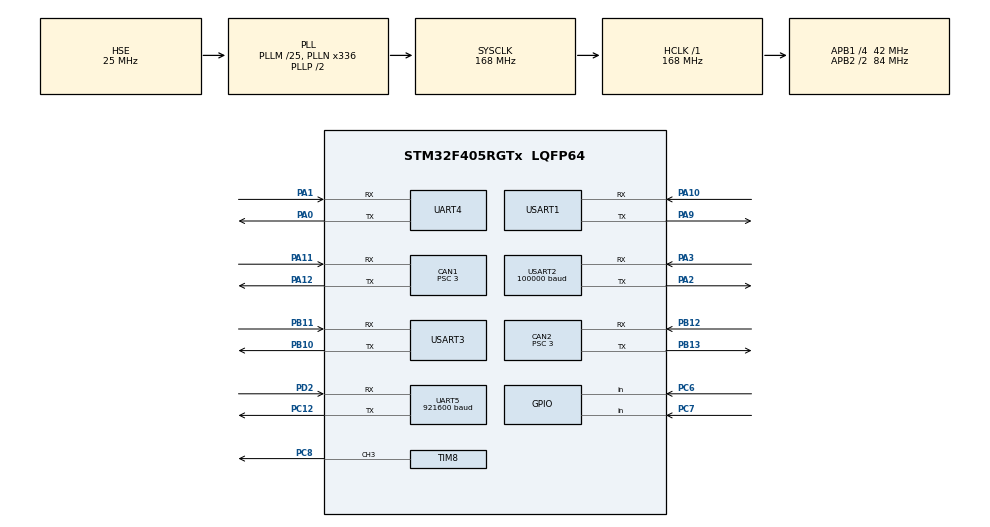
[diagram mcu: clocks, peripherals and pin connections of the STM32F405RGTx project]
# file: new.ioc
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CAN1.ABOM=ENABLE
CAN1.AWUM=ENABLE
CAN1.BS1=CAN_BS1_9TQ
CAN1.BS2=CAN_BS2_4TQ
CAN1.CalculateBaudRate=1000000
CAN1.CalculateTimeBit=1000
CAN1.CalculateTimeQuantum=71.42857142857143
CAN1.NART=DISABLE
CAN1.Prescaler=3
CAN1.TXFP=DISABLE
CAN2.ABOM=ENABLE
CAN2.AWUM=ENABLE
CAN2.BS1=CAN_BS1_9TQ
CAN2.BS2=CAN_BS2_4TQ
CAN2.CalculateBaudRate=1000000
CAN2.CalculateTimeBit=1000
CAN2.CalculateTimeQuantum=71.42857142857143
CAN2.NART=ENABLE
CAN2.Prescaler=3
CAN2.TXFP=DISABLE
Dma.Request0=USART2_RX
Dma.Request1=UART4_RX
Dma.Request2=UART5_RX
Dma.Request3=USART1_RX
Dma.UART4_RX.1.Direction=DMA_PERIPH_TO_MEMORY
Dma.UART4_RX.1.FIFOMode=DMA_FIFOMODE_DISABLE
Dma.UART4_RX.1.Instance=DMA1_Stream2
Dma.UART4_RX.1.MemDataAlignment=DMA_MDATAALIGN_BYTE
Dma.UART4_RX.1.MemInc=DMA_MINC_ENABLE
Dma.UART4_RX.1.Mode=DMA_CIRCULAR
Dma.UART4_RX.1.PeriphDataAlignment=DMA_PDATAALIGN_BYTE
Dma.UART4_RX.1.PeriphInc=DMA_PINC_DISABLE
Dma.UART4_RX.1.Priority=DMA_PRIORITY_VERY_HIGH
Dma.UART5_RX.2.Direction=DMA_PERIPH_TO_MEMORY
Dma.UART5_RX.2.FIFOMode=DMA_FIFOMODE_DISABLE
Dma.UART5_RX.2.Instance=DMA1_Stream0
Dma.UART5_RX.2.MemDataAlignment=DMA_MDATAALIGN_BYTE
Dma.UART5_RX.2.MemInc=DMA_MINC_ENABLE
Dma.UART5_RX.2.Mode=DMA_CIRCULAR
Dma.UART5_RX.2.PeriphDataAlignment=DMA_PDATAALIGN_BYTE
Dma.UART5_RX.2.PeriphInc=DMA_PINC_DISABLE
Dma.UART5_RX.2.Priority=DMA_PRIORITY_VERY_HIGH
Dma.USART1_RX.3.Direction=DMA_PERIPH_TO_MEMORY
Dma.USART1_RX.3.FIFOMode=DMA_FIFOMODE_DISABLE
Dma.USART1_RX.3.Instance=DMA2_Stream2
Dma.USART1_RX.3.MemDataAlignment=DMA_MDATAALIGN_BYTE
Dma.USART1_RX.3.MemInc=DMA_MINC_ENABLE
Dma.USART1_RX.3.Mode=DMA_CIRCULAR
Dma.USART1_RX.3.PeriphDataAlignment=DMA_PDATAALIGN_BYTE
Dma.USART1_RX.3.PeriphInc=DMA_PINC_DISABLE
Dma.USART1_RX.3.Priority=DMA_PRIORITY_VERY_HIGH
Dma.USART2_RX.0.Direction=DMA_PERIPH_TO_MEMORY
Dma.USART2_RX.0.FIFOMode=DMA_FIFOMODE_DISABLE
Dma.USART2_RX.0.Instance=DMA1_Stream5
Dma.USART2_RX.0.MemDataAlignment=DMA_MDATAALIGN_BYTE
Dma.USART2_RX.0.MemInc=DMA_MINC_ENABLE
Dma.USART2_RX.0.Mode=DMA_NORMAL
Dma.USART2_RX.0.PeriphDataAlignment=DMA_PDATAALIGN_BYTE
Dma.USART2_RX.0.PeriphInc=DMA_PINC_DISABLE
Dma.USART2_RX.0.Priority=DMA_PRIORITY_VERY_HIGH
FREERTOS.INCLUDE_vTaskDelayUntil=1
FREERTOS.Tasks01=chassis__task,0,512,chassis_task,Default,NULL,Dynamic,NULL,NULL;Gimbal__Task,-1,512,Gimbal_Task,Default,NULL,Dynamic,NULL,NULL;can__Task,1,512,can_Task,Default,NULL,Dynamic,NULL,NULL;vofa__Task,-2,128,vofa_Task,Default,NULL,Dynamic,NULL,NULL;Detect__Task,-1,512,Detect_Task,Default,NULL,Dynamic,NULL,NULL;client_,-2,128,client,Default,NULL,Dynamic,NULL,NULL;super_cap,-3,128,super_cap_task,Default,NULL,Dynamic,NULL,NULL
Mcu.Family=STM32F4
Mcu.Name=STM32F405RGTx
Mcu.Package=LQFP64
NVIC.CAN1_RX0_IRQn=true\:5\:0\:true\:false\:true\:true\:true\:true\:true
NVIC.CAN2_RX0_IRQn=true\:5\:0\:true\:false\:true\:true\:true\:true\:true
NVIC.DMA1_Stream0_IRQn=true\:5\:0\:false\:false\:true\:true\:false\:true\:true
NVIC.DMA1_Stream2_IRQn=true\:5\:0\:false\:false\:true\:true\:false\:true\:true
NVIC.DMA1_Stream5_IRQn=true\:5\:0\:true\:false\:true\:true\:false\:true\:true
NVIC.DMA2_Stream2_IRQn=true\:5\:0\:false\:false\:true\:true\:false\:true\:true
NVIC.PriorityGroup=NVIC_PRIORITYGROUP_4
NVIC.TIM8_TRG_COM_TIM14_IRQn=true\:15\:0\:true\:false\:true\:false\:false\:true\:true
NVIC.TimeBase=TIM8_TRG_COM_TIM14_IRQn
NVIC.TimeBaseIP=TIM14
NVIC.UART4_IRQn=true\:8\:0\:true\:false\:true\:true\:true\:true\:true
NVIC.UART5_IRQn=true\:5\:0\:true\:false\:true\:true\:true\:true\:true
NVIC.USART1_IRQn=true\:7\:0\:true\:false\:true\:true\:true\:true\:true
NVIC.USART2_IRQn=true\:7\:0\:true\:false\:true\:true\:true\:true\:true
PA0-WKUP.Mode=Asynchronous
PA0-WKUP.Signal=UART4_TX
PA1.Mode=Asynchronous
PA1.Signal=UART4_RX
PA10.Mode=Asynchronous
PA10.Signal=USART1_RX
PA11.GPIO_PuPd=GPIO_NOPULL
PA11.Mode=CAN_Activate
PA11.Signal=CAN1_RX
PA12.Mode=CAN_Activate
PA12.Signal=CAN1_TX
PA13.Mode=Serial_Wire
PA13.Signal=SYS_JTMS-SWDIO
PA14.Mode=Serial_Wire
PA14.Signal=SYS_JTCK-SWCLK
PA2.GPIO_PuPd=GPIO_PULLUP
PA2.Mode=Asynchronous
PA2.Signal=USART2_TX
PA3.GPIO_PuPd=GPIO_PULLUP
PA3.Mode=Asynchronous
PA3.Signal=USART2_RX
PA9.Mode=Asynchronous
PA9.Signal=USART1_TX
PB10.Mode=Asynchronous
PB10.Signal=USART3_TX
PB11.Mode=Asynchronous
PB11.Signal=USART3_RX
PB12.Mode=CAN_Activate
PB12.Signal=CAN2_RX
PB13.Mode=CAN_Activate
PB13.Signal=CAN2_TX
PC12.Mode=Asynchronous
PC12.Signal=UART5_TX
PC6.Signal=GPIO_Input
PC7.Signal=GPIO_Input
PC8.Signal=S_TIM8_CH3
PD2.Mode=Asynchronous
PD2.Signal=UART5_RX
PH0-OSC_IN.Mode=HSE-External-Oscillator
PH0-OSC_IN.Signal=RCC_OSC_IN
PH1-OSC_OUT.Mode=HSE-External-Oscillator
PH1-OSC_OUT.Signal=RCC_OSC_OUT
ProjectManager.HeapSize=0x800
ProjectManager.StackSize=0x800
ProjectManager.TargetToolchain=MDK-ARM V5
RCC.48MHZClocksFreq_Value=84000000
RCC.AHBFreq_Value=168000000
RCC.APB1CLKDivider=RCC_HCLK_DIV4
RCC.APB1Freq_Value=42000000
RCC.APB1TimFreq_Value=84000000
RCC.APB2CLKDivider=RCC_HCLK_DIV2
RCC.APB2Freq_Value=84000000
RCC.APB2TimFreq_Value=168000000
RCC.CortexFreq_Value=168000000
RCC.HCLKFreq_Value=168000000
RCC.HSE_VALUE=25000000
RCC.HSI_VALUE=16000000
RCC.LSE_VALUE=32768
RCC.PLLM=25
RCC.PLLN=336
RCC.PLLSourceVirtual=RCC_PLLSOURCE_HSE
RCC.SYSCLKFreq_VALUE=168000000
RCC.SYSCLKSource=RCC_SYSCLKSOURCE_PLLCLK
RCC.VCOOutputFreq_Value=336000000
SH.S_TIM8_CH3.0=TIM8_CH3,PWM Generation3 CH3
TIM8.AutoReloadPreload=TIM_AUTORELOAD_PRELOAD_ENABLE
TIM8.Channel-PWM\ Generation3\ CH3=TIM_CHANNEL_3
TIM8.OCPolarity_3=TIM_OCPOLARITY_HIGH
TIM8.Period=20000-1
TIM8.Prescaler=168-1
TIM8.Pulse-PWM\ Generation3\ CH3=2340
TIM8.RepetitionCounter=250
UART4.VirtualMode=Asynchronous
UART5.BaudRate=921600
UART5.VirtualMode=Asynchronous
USART1.VirtualMode=VM_ASYNC
USART2.BaudRate=100000
USART2.Parity=PARITY_EVEN
USART2.VirtualMode=VM_ASYNC
USART2.WordLength=WORDLENGTH_9B
USART3.VirtualMode=VM_ASYNC
VP_FREERTOS_VS_CMSIS_V1.Mode=CMSIS_V1
VP_SYS_VS_tim14.Mode=TIM14
board=custom

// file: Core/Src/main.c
/* USER CODE BEGIN Header */
/**
  ******************************************************************************
  * @file           : main.c
  * @brief          : Main program body
  ******************************************************************************
  * @attention
  *
  * Copyright (c) 2022 STMicroelectronics.
  * All rights reserved.
  *
  * This software is licensed under terms that can be found in the LICENSE file
  * in the root directory of this software component.
  * If no LICENSE file comes with this software, it is provided AS-IS.
  *
  ******************************************************************************
  */
/* USER CODE END Header */
#include "main.h"
#include "cmsis_os.h"
#include "can.h"
#include "dma.h"
#include "tim.h"
#include "usart.h"
#include "gpio.h"

/* USER CODE BEGIN Includes */
#include "rc.h"
#include "pid.h"
#include "imu_data_decode.h"
#include "Report.h"
#include "vision.h"
extern void PID_init(void);
/* USER CODE END Includes */

/* USER CODE BEGIN PV */
extern uint8_t hi229_data;
extern uint8_t MPU_data;
extern uint8_t UART1_Rx_Buf[14];
extern uint8_t Aimbot_Buffer[6];
/* USER CODE END PV */

void SystemClock_Config(void);
void MX_FREERTOS_Init(void);

/* USER CODE BEGIN 0 */

extern unsigned char sbus_rx_buffer[2][RC_FRAME_LENGTH]; //double sbus rx buffer to save data
extern uint8_t UART4_Rx_temp[2][REFFER_REC_LENGTH];
extern uint8_t UART4_Flag;
/* USER CODE END 0 */

int main(void)
{

  /* MCU Configuration--------------------------------------------------------*/

  /* Reset of all peripherals, Initializes the Flash interface and the Systick. */
  HAL_Init();

  /* Configure the system clock */
  SystemClock_Config();

  /* Initialize all configured peripherals */
  MX_GPIO_Init();
  MX_DMA_Init();
  MX_CAN1_Init();
  MX_CAN2_Init();
  MX_USART2_UART_Init();
  MX_UART5_Init();
  MX_TIM8_Init();
  MX_USART3_UART_Init();
  MX_UART4_Init();
  MX_USART1_UART_Init();
  /* USER CODE BEGIN 2 */
	CAN1_Filterinit_And_Start();
	CAN2_Filterinit_And_Start();
	PID_init();
  Usart_Init_Report();
  imu_data_decode_init();

	CAN1_0x333_TX(48);

  HAL_TIM_PWM_Start(&htim8,TIM_CHANNEL_3);

	__HAL_UART_ENABLE_IT(&huart1,UART_IT_IDLE);
	HAL_UART_Receive_DMA(&huart1,Aimbot_Buffer,6);

	HAL_UART_Receive_DMA(&huart5,&MPU_data,1);

	HAL_UART_Receive_DMA(&huart2,&sbus_rx_buffer[0][0],RC_FRAME_LENGTH);
  HAL_UART_Receive_DMA(&huart4, (uint8_t*)UART4_Rx_temp[UART4_Flag], REFFER_REC_LENGTH);
  /* USER CODE END 2 */

  /* Call init function for freertos objects (in freertos.c) */
  MX_FREERTOS_Init();

  /* Start scheduler */
  osKernelStart();

  /* We should never get here as control is now taken by the scheduler */
  /* Infinite loop */
  while (1)
  {

  }
}

void SystemClock_Config(void)
{
  RCC_OscInitTypeDef RCC_OscInitStruct = {0};
  RCC_ClkInitTypeDef RCC_ClkInitStruct = {0};

  /** Configure the main internal regulator output voltage
  */
  __HAL_RCC_PWR_CLK_ENABLE();
  __HAL_PWR_VOLTAGESCALING_CONFIG(PWR_REGULATOR_VOLTAGE_SCALE1);

  /** Initializes the RCC Oscillators according to the specified parameters
  * in the RCC_OscInitTypeDef structure.
  */
  RCC_OscInitStruct.OscillatorType = RCC_OSCILLATORTYPE_HSE;
  RCC_OscInitStruct.HSEState = RCC_HSE_ON;
  RCC_OscInitStruct.PLL.PLLState = RCC_PLL_ON;
  RCC_OscInitStruct.PLL.PLLSource = RCC_PLLSOURCE_HSE;
  RCC_OscInitStruct.PLL.PLLM = 25;
  RCC_OscInitStruct.PLL.PLLN = 336;
  RCC_OscInitStruct.PLL.PLLP = RCC_PLLP_DIV2;
  RCC_OscInitStruct.PLL.PLLQ = 4;
  if (HAL_RCC_OscConfig(&RCC_OscInitStruct) != HAL_OK)
  {
    Error_Handler();
  }

  /** Initializes the CPU, AHB and APB buses clocks
  */
  RCC_ClkInitStruct.ClockType = RCC_CLOCKTYPE_HCLK|RCC_CLOCKTYPE_SYSCLK
                              |RCC_CLOCKTYPE_PCLK1|RCC_CLOCKTYPE_PCLK2;
  RCC_ClkInitStruct.SYSCLKSource = RCC_SYSCLKSOURCE_PLLCLK;
  RCC_ClkInitStruct.AHBCLKDivider = RCC_SYSCLK_DIV1;
  RCC_ClkInitStruct.APB1CLKDivider = RCC_HCLK_DIV4;
  RCC_ClkInitStruct.APB2CLKDivider = RCC_HCLK_DIV2;

  if (HAL_RCC_ClockConfig(&RCC_ClkInitStruct, FLASH_LATENCY_5) != HAL_OK)
  {
    Error_Handler();
  }
}

void HAL_TIM_PeriodElapsedCallback(TIM_HandleTypeDef *htim)
{
  if (htim->Instance == TIM14) {
    HAL_IncTick();
  }
}

void Error_Handler(void)
{
  __disable_irq();
  while (1)
  {
  }
}

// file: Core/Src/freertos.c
/* USER CODE BEGIN Header */
/**
  ******************************************************************************
  * File Name          : freertos.c
  * Description        : Code for freertos applications
  ******************************************************************************
  * @attention
  *
  * Copyright (c) 2022 STMicroelectronics.
  * All rights reserved.
  *
  * This software is licensed under terms that can be found in the LICENSE file
  * in the root directory of this software component.
  * If no LICENSE file comes with this software, it is provided AS-IS.
  *
  ******************************************************************************
  */
/* USER CODE END Header */

#include "FreeRTOS.h"
#include "task.h"
#include "main.h"
#include "cmsis_os.h"

/* USER CODE BEGIN Includes */
#include "rc.h"
#include "task.h"
#include "pid.h"
#include "can.h"
#include "vision.h"
#include "Report.h"
#include "referee.h"
#include "detect_task.h"
#include "chassis_mode.h"
#include "vision_task.h"

extern void Chassis_PID(void);
extern void Gimbal_PID(void);
extern void dial_PID(void);
extern void Friction_PID(void);
extern int infra_red_GPIO;
extern int infra_red_MODE;
/* USER CODE END Includes */

osThreadId chassis__taskHandle;
osThreadId Gimbal__TaskHandle;
osThreadId can__TaskHandle;
osThreadId vofa__TaskHandle;
osThreadId Detect__TaskHandle;
osThreadId client_Handle;
osThreadId super_capHandle;

void chassis_task(void const * argument);
void Gimbal_Task(void const * argument);
void can_Task(void const * argument);
void vofa_Task(void const * argument);
void Detect_Task(void const * argument);
void client(void const * argument);
void super_cap_task(void const * argument);

void MX_FREERTOS_Init(void); /* (MISRA C 2004 rule 8.1) */

/* GetIdleTaskMemory prototype (linked to static allocation support) */
void vApplicationGetIdleTaskMemory( StaticTask_t **ppxIdleTaskTCBBuffer, StackType_t **ppxIdleTaskStackBuffer, uint32_t *pulIdleTaskStackSize );

/* USER CODE BEGIN GET_IDLE_TASK_MEMORY */
static StaticTask_t xIdleTaskTCBBuffer;
static StackType_t xIdleStack[configMINIMAL_STACK_SIZE];

void vApplicationGetIdleTaskMemory( StaticTask_t **ppxIdleTaskTCBBuffer, StackType_t **ppxIdleTaskStackBuffer, uint32_t *pulIdleTaskStackSize )
{
  *ppxIdleTaskTCBBuffer = &xIdleTaskTCBBuffer;
  *ppxIdleTaskStackBuffer = &xIdleStack[0];
  *pulIdleTaskStackSize = configMINIMAL_STACK_SIZE;
  /* place for user code */
}
/* USER CODE END GET_IDLE_TASK_MEMORY */

void MX_FREERTOS_Init(void) {

  /* Create the thread(s) */
  /* definition and creation of chassis__task */
  osThreadDef(chassis__task, chassis_task, osPriorityNormal, 0, 512);
  chassis__taskHandle = osThreadCreate(osThread(chassis__task), NULL);

  /* definition and creation of Gimbal__Task */
  osThreadDef(Gimbal__Task, Gimbal_Task, osPriorityBelowNormal, 0, 512);
  Gimbal__TaskHandle = osThreadCreate(osThread(Gimbal__Task), NULL);

  /* definition and creation of can__Task */
  osThreadDef(can__Task, can_Task, osPriorityAboveNormal, 0, 512);
  can__TaskHandle = osThreadCreate(osThread(can__Task), NULL);

  /* definition and creation of vofa__Task */
  osThreadDef(vofa__Task, vofa_Task, osPriorityLow, 0, 128);
  vofa__TaskHandle = osThreadCreate(osThread(vofa__Task), NULL);

  /* definition and creation of Detect__Task */
  osThreadDef(Detect__Task, Detect_Task, osPriorityBelowNormal, 0, 512);
  Detect__TaskHandle = osThreadCreate(osThread(Detect__Task), NULL);

  /* definition and creation of client_ */
  osThreadDef(client_, client, osPriorityLow, 0, 128);
  client_Handle = osThreadCreate(osThread(client_), NULL);

  /* definition and creation of super_cap */
  osThreadDef(super_cap, super_cap_task, osPriorityIdle, 0, 128);
  super_capHandle = osThreadCreate(osThread(super_cap), NULL);

}

void chassis_task(void const * argument)
{
  /* USER CODE BEGIN chassis_task */
	static portTickType PreviousWakeTime1;
	const portTickType TimeIncrement=pdMS_TO_TICKS(2);
	PreviousWakeTime1=xTaskGetTickCount();

  /* Infinite loop */
  for(;;)
  {
		ReadRc_Chassis();
    Function_Choose();
		Chassis_PID();
   	vTaskDelayUntil(&PreviousWakeTime1,TimeIncrement);
  }
  /* USER CODE END chassis_task */
}

void Gimbal_Task(void const * argument)
{
  /* USER CODE BEGIN Gimbal_Task */
	static portTickType PreviousWakeTime1;
	const portTickType TimeIncrement=pdMS_TO_TICKS(2);
	PreviousWakeTime1=xTaskGetTickCount();
  /* Infinite loop */
  for(;;)
  {
		ReadRc_Gimbal();
		Gimbal_PID();

    Friction_PID();

    ReadRc_dial();
    dial_PID();

    Offline_task();

	  vTaskDelayUntil(&PreviousWakeTime1,TimeIncrement);
  }
  /* USER CODE END Gimbal_Task */
}

void can_Task(void const * argument)
{
  /* USER CODE BEGIN can_Task */
	static portTickType PreviousWakeTime1;
	const portTickType TimeIncrement=pdMS_TO_TICKS(5);
	PreviousWakeTime1=xTaskGetTickCount();
  /* Infinite loop */
  for(;;)
  {
		Offline_task();
	  CAN1_send();
	  CAN2_send();
		vTaskDelayUntil(&PreviousWakeTime1,TimeIncrement);
  }
  /* USER CODE END can_Task */
}

void vofa_Task(void const * argument)
{
  /* USER CODE BEGIN vofa_Task */
  static portTickType PreviousWakeTime1;
	const portTickType TimeIncrement=pdMS_TO_TICKS(5);
	PreviousWakeTime1=xTaskGetTickCount();
  /* Infinite loop */
  for(;;)
  {
    //vision_Send();
		report_SendData(yaw_outer_pid.target,yaw_outer_pid.ActualSpeed,infra_red_GPIO,0,0);
	  vTaskDelayUntil(&PreviousWakeTime1,TimeIncrement);
  }
  /* USER CODE END vofa_Task */
}

void Detect_Task(void const * argument)
{
  /* USER CODE BEGIN Detect_Task */

  detect_init();
  //çŠşé˛ä¸?ćŽľćśé?

  static portTickType PreviousWakeTime1;
  const portTickType TimeIncrement=pdMS_TO_TICKS(57);
  PreviousWakeTime1=xTaskGetTickCount();

  /* Infinite loop */
  for(;;)
  {
    DetectTask();
	  vTaskDelayUntil(&PreviousWakeTime1,TimeIncrement);
    //vTaskDelay(DETECT_TASK_INIT_TIME);
  }
  /* USER CODE END Detect_Task */
}

void client(void const * argument)
{
  /* USER CODE BEGIN client */
  static portTickType PreviousWakeTime1;
	const portTickType TimeIncrement=pdMS_TO_TICKS(100);
	PreviousWakeTime1=xTaskGetTickCount();

  /* Infinite loop */
  for(;;)
  {
    //referee_task();
	  vTaskDelayUntil(&PreviousWakeTime1,TimeIncrement);
  }
  /* USER CODE END client */
}

void super_cap_task(void const * argument)
{
  /* USER CODE BEGIN super_cap_task */
	/*
  static portTickType PreviousWakeTime1;
	const portTickType TimeIncrement=pdMS_TO_TICKS(100);
	PreviousWakeTime1=xTaskGetTickCount();
	*/
	uint32_t previousWakeTime=osKernelSysTick();
  /* Infinite loop */
  for(;;)
  {
		//CAN1_0x333_TX(48);
		//CAN2_0x300_TX(66);
		osDelayUntil(&previousWakeTime,3);

	  //vTaskDelayUntil(&PreviousWakeTime1,TimeIncrement);
  }
  /* USER CODE END super_cap_task */
}
